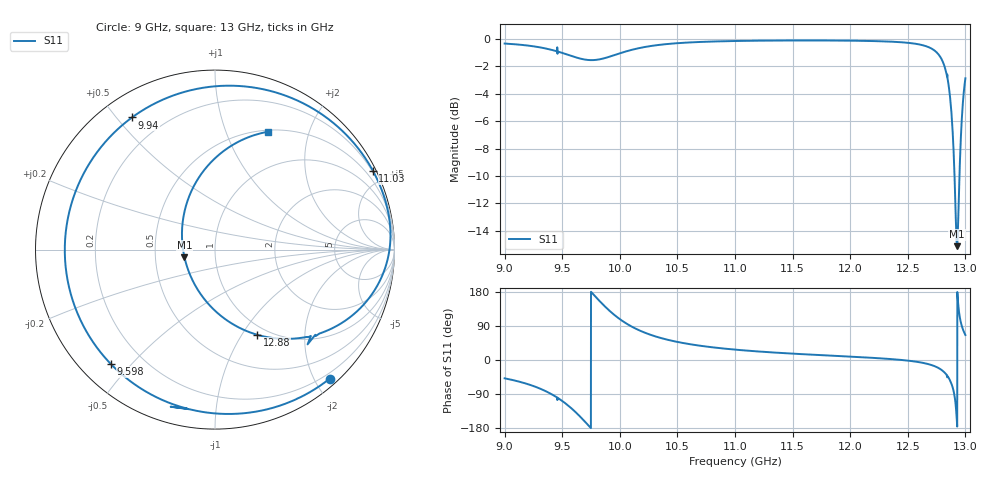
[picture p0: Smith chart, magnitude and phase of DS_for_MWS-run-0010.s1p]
! TOUCHSTONE file generated by CST DESIGN STUDIO
! Date and time: Tue Feb  4 18:18:07 2025
! Project name: C:\Work\MatlabApps\UnitCellOptimizationMatlab\CST\unitcell.cst
! Tree item: Tasks\Sweep1\SPara1\S-Parameters
! Header version: 2024
! Port assignment regex: !\s*Touchstone port\s*([0-9]+)\s*=\s*(CST MWS port|CST DES external port|CST DES block port)\s*(.+)\s* \(\"(.*)\"\)(\s*mode\s*([0-9]+))?.*
! Touchstone port assignment:
! Touchstone port 1 = CST DES external port 1 ("")
# GHz S MA R 50
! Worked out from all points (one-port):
!   4001 points, 9 GHz to 13 GHz, reference 50 ohm
!   lowest |S11| = -15.1 dB at 12.93 GHz (marker M1), VSWR 1.43, Z = 35.4 - j3.15 ohm
!   |S11| at or under -10 dB: 12.90569 GHz to 12.9484 GHz (42.71 MHz wide, 0.33 % of centre)
!   S11 on the Smith chart (normalised r, x): 9 GHz: 0.12, -2.22; 9.598 GHz: 0.09, -0.44; 9.94 GHz: 0.09, +0.55; 11.03 GHz: 0.16, +4.23; 12.88 GHz: 0.89, -1.17; 13 GHz: 0.52, +1.41
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9  0.962 -48.3
9.268  0.9375 -70.7
9.4  0.9141 -89.0
9.5  0.8893 -108.1
9.598  0.8619 -132.4
9.687  0.8423 -159.3
9.763  0.837 175.7
9.841  0.8453 150.4
9.94  0.8694 122.1
10  0.8862 107.9
10.099  0.9114 88.9
10.23  0.9365 70.6
10.5  0.9649 47.7
11  0.9828 27.4
11.032  0.9833 26.5
11.5  0.9871 16.8
12  0.9855 8.9
12.5  0.968 -1.6
12.669  0.9374 -10.1
12.766  0.8787 -21.0
12.83  0.764 -36.7
12.88  0.53 -63.6
12.903  0.3408 -89.9
12.916  0.2263 -119.6
12.927  0.1755 -165.7
12.945  0.2829 125.9
12.966  0.4855 92.9
13  0.7186 66.0
